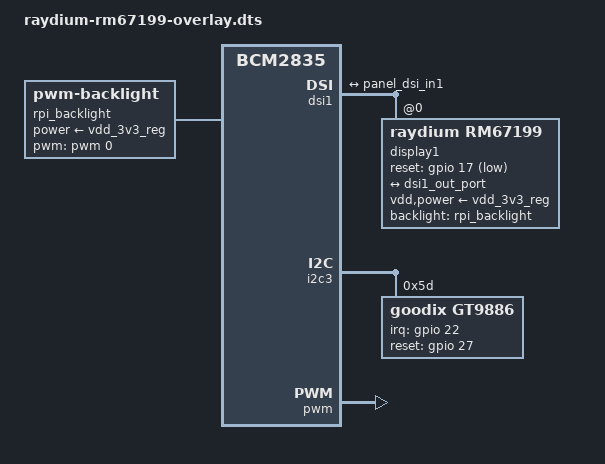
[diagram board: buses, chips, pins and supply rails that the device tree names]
/dts-v1/;
/plugin/;

/ {
	compatible = "brcm,bcm2835";

  fragment@0 {
    target=<&dsi1>;


    __overlay__ {
      status = "okay";
      #address-cells = <1>;
      #size-cells = <0>;



      port {
        dsi1_out_port: endpoint {
          remote-endpoint = <&panel_dsi_in1>;
        };
      };

      display1: panel@0 {
        status = "okay";
        compatible = "raydium,rm67199";
        reg = <0>;

        vdd-supply = <&vdd_3v3_reg>;
        power-supply = <&vdd_3v3_reg>;
        reset-gpios = <&gpio 17 1>;   // LCD RST
        backlight = <&rpi_backlight>;

        dsi-lanes = <4>;

        rotation = <270>;
        pinctrl-names = "default";
        video-mode = <2>;	// 0: burst mode
                          // 1: non-burst mode with sync event
                          // 2: non-burst mode with sync pulse
        panel-width-mm = <68>;
        panel-height-mm = <121>;

        port {
          panel_dsi_in1: endpoint {
              remote-endpoint = <&dsi1_out_port>;
          };
        };

        disp_timings0: display-timings {
          native-mode = <&dsi1_timing0>;
          dsi1_timing0: timing0 {
            clock-frequency = <133710720>;
            hactive = <1080>;
            vactive = <1920>;
            hfront-porch = <26>;
            hsync-len = <2>;
            hback-porch = <36>;
            vfront-porch = <8>;
            vsync-len = <4>;
            vback-porch = <16>;
            hsync-active = <0>;
            vsync-active = <0>;
            de-active = <0>;
            pixelclk-active = <0>;
          };
        };

      };

    };
  };

  fragment@1 {
    target = <&gpio>;
    __overlay__ {
      panel_pins: panel_pins {
        brcm,pins = <17>;
        brcm,function = <1>; // out
        brcm,pull = <0>; // off
      };
    };

	};

  fragment@2 {
    target = <&i2c3>;
    __overlay__ {
      status = "okay";
      #address-cells = <1>;
      #size-cells = <0>;

      gt9886: gt9886@5d {
        status = "okay";
        compatible = "goodix,gt9886";
        reg = <0x5d>;
        pinctrl-names = "default";
        pinctrl-0 = <&touch_pins>;
        interrupt-parent = <&gpio>;
        interrupts = <22 2>; // GPIO22, IRQ_TYPE_EDGE_FALLING
        goodix,irq-gpio = <&gpio 22 0>;
        goodix,reset-gpio = <&gpio 27 0>;
        goodix,irq-flags = <2>; /* 1:trigger rising, 2:trigger falling */
        goodix,panel-max-x = <1080>;
        goodix,panel-max-y = <1920>;
        goodix,panel-max-w = <255>;
      };
    };
  };

  fragment@3 {
    target = <&gpio>;
    __overlay__ {
      touch_pins: touch_pins {
        brcm,pins = <22 27>; // IRQ and RESET pins
        brcm,function = <0 1>; // input, output
        brcm,pull = <0 0>; // no pull
      };
    };
  };

  fragment@4 {
    target = <&pwm>;
    frag1: __overlay__ {
      pinctrl-names = "default";
      pinctrl-0 = <&pwm_pins>;
      assigned-clock-rates = <1000000>;
      status = "okay";
    };
  };

  fragment@5 {
    target = <&gpio>;
    __overlay__ {
      pwm_pins: pwm_pins {
        brcm,pins = <12>;
        brcm,function = <4>; /* ALT0 = PWM0 */
        brcm,pull = <0>;
      };
    };
  };

  fragment@6 {
    target-path = "/";
    __overlay__ {
      rpi_backlight: rpi_backlight {
        compatible = "pwm-backlight";
        brightness-levels = <
          0  20  20  21  21  22  22  23
          23  24  24  25  25  26  26  27
          27  28  28  29  29  30  30  31
          31  32  32  33  33  34  34  35
          35  36  36  37  37  38  38  39
          40  41  42  43  44  45  46  47
          48  49  50  51  52  53  54  55
          56  57  58  59  60  61  62  63
          64  65  66  67  68  69  70  71
          72  73  74  75  76  77  78  79
          80  81  82  83  84  85  86  87
          88  89  90  91  92  93  94  95
          96  97  98  99 100 101 102 103
          104 105 106 107 108 109 110 111
          112 113 114 115 116 117 118 119
          120 121 122 123 124 125 126 127
          128 129 130 131 132 133 134 135
          136 137 138 139 140 141 142 143
          144 145 146 147 148 149 150 151
          152 153 154 155 156 157 158 159
          160 161 162 163 164 165 166 167
          168 169 170 171 172 173 174 175
          176 177 178 179 180 181 182 183
          184 185 186 187 188 189 190 191
          192 193 194 195 196 197 198 199
          200 201 202 203 204 205 206 207
          208 209 210 211 212 213 214 215
          216 217 218 219 220 221 222 223
          224 225 226 227 228 229 230 231
          232 233 234 235 236 237 238 239
          240 241 242 243 244 245 246 247
          248 249 250 251 252 253 254 255
        >;
        default-brightness-level = <200>;
        pwms = <&pwm 0 200000>;
        power-supply = <&vdd_3v3_reg>;
        status = "okay";
      };
    };
  };

};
